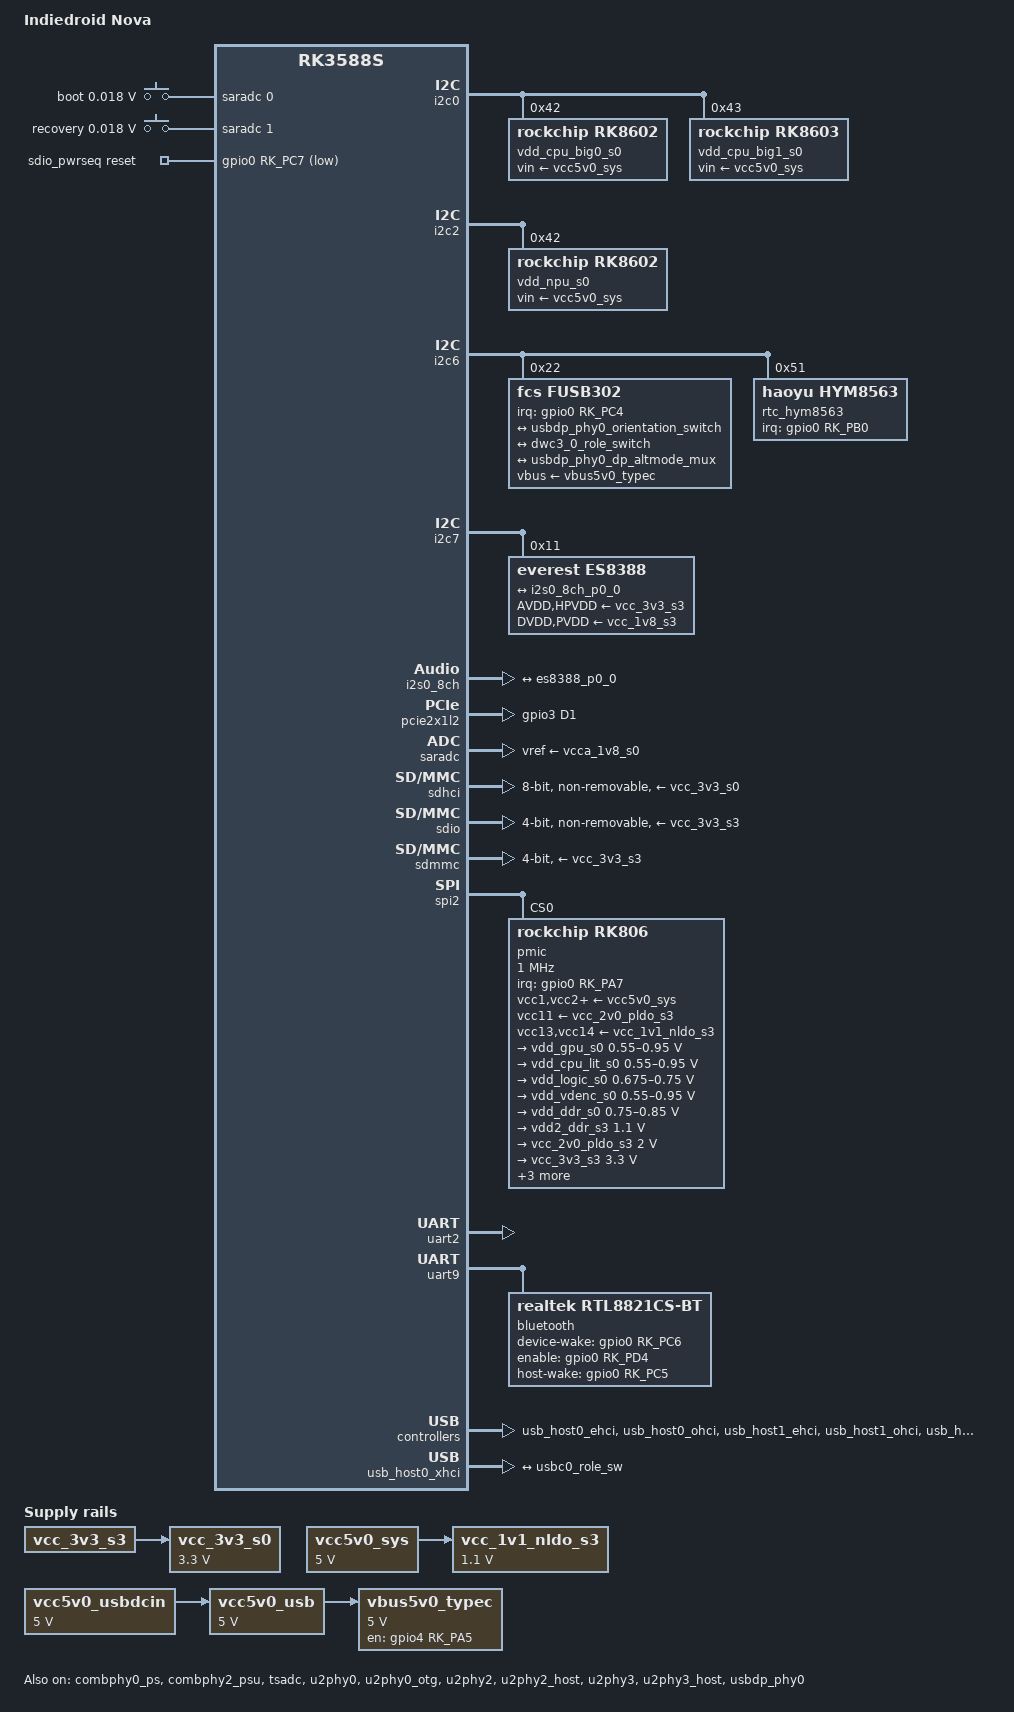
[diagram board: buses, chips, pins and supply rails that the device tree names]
// SPDX-License-Identifier: (GPL-2.0+ OR MIT)

/dts-v1/;

#include <dt-bindings/gpio/gpio.h>
#include <dt-bindings/input/linux-event-codes.h>
#include <dt-bindings/pinctrl/rockchip.h>
#include <dt-bindings/usb/pd.h>
#include "rk3588s.dtsi"

/ {
	model = "Indiedroid Nova";
	compatible = "indiedroid,nova", "rockchip,rk3588s";

	adc-keys-0 {
		compatible = "adc-keys";
		io-channel-names = "buttons";
		io-channels = <&saradc 0>;
		keyup-threshold-microvolt = <1800000>;
		poll-interval = <100>;

		button-boot {
			label = "boot";
			linux,code = <KEY_PROG1>;
			press-threshold-microvolt = <18000>;
		};
	};

	adc-keys-1 {
		compatible = "adc-keys";
		io-channel-names = "buttons";
		io-channels = <&saradc 1>;
		keyup-threshold-microvolt = <1800000>;
		poll-interval = <100>;

		button-recovery {
			label = "recovery";
			linux,code = <KEY_PROG2>;
			press-threshold-microvolt = <18000>;
		};
	};

	aliases {
		mmc0 = &sdhci;
		mmc1 = &sdmmc;
		mmc2 = &sdio;
	};

	chosen {
		stdout-path = "serial2:1500000n8";
	};

	sdio_pwrseq: sdio-pwrseq {
		compatible = "mmc-pwrseq-simple";
		clock-names = "ext_clock";
		clocks = <&rtc_hym8563>;
		pinctrl-0 = <&wifi_enable_h>;
		pinctrl-names = "default";
		post-power-on-delay-ms = <200>;
		reset-gpios = <&gpio0 RK_PC7 GPIO_ACTIVE_LOW>;
	};

	sound {
		compatible = "audio-graph-card";
		label = "rockchip,es8388";
		widgets = "Microphone", "Mic Jack",
			  "Headphone", "Headphones";
		routing = "LINPUT2", "Mic Jack",
			  "Headphones", "LOUT1",
			  "Headphones", "ROUT1";
		dais = <&i2s0_8ch_p0>;
	};

	vbus5v0_typec: vbus5v0-typec-regulator {
		compatible = "regulator-fixed";
		enable-active-high;
		gpio = <&gpio4 RK_PA5 GPIO_ACTIVE_HIGH>;
		pinctrl-0 = <&typec5v_pwren>;
		pinctrl-names = "default";
		regulator-name = "vbus5v0_typec";
		regulator-min-microvolt = <5000000>;
		regulator-max-microvolt = <5000000>;
		vin-supply = <&vcc5v0_usb>;
	};

	vcc_1v1_nldo_s3: vcc-1v1-nldo-s3-regulator {
		compatible = "regulator-fixed";
		regulator-always-on;
		regulator-boot-on;
		regulator-max-microvolt = <1100000>;
		regulator-min-microvolt = <1100000>;
		regulator-name = "vcc_1v1_nldo_s3";
		vin-supply = <&vcc5v0_sys>;
	};

	/* Regulator is enabled whenever vcc_1v8_s0 is above 1.6v */
	vcc_3v3_s0: vcc-3v3-s0-regulator {
		compatible = "regulator-fixed";
		regulator-always-on;
		regulator-boot-on;
		regulator-max-microvolt = <3300000>;
		regulator-min-microvolt = <3300000>;
		regulator-name = "vcc_3v3_s0";
		vin-supply = <&vcc_3v3_s3>;

		regulator-state-mem {
			regulator-off-in-suspend;
		};
	};

	vcc5v0_sys: vcc5v0-sys-regulator {
		compatible = "regulator-fixed";
		regulator-always-on;
		regulator-boot-on;
		regulator-max-microvolt = <5000000>;
		regulator-min-microvolt = <5000000>;
		regulator-name = "vcc5v0_sys";
	};

	vcc5v0_usb: vcc5v0-usb-regulator {
		compatible = "regulator-fixed";
		regulator-always-on;
		regulator-boot-on;
		regulator-max-microvolt = <5000000>;
		regulator-min-microvolt = <5000000>;
		regulator-name = "vcc5v0_usb";
		vin-supply = <&vcc5v0_usbdcin>;
	};

	vcc5v0_usbdcin: vcc5v0-usbdcin-regulator {
		compatible = "regulator-fixed";
		regulator-always-on;
		regulator-boot-on;
		regulator-max-microvolt = <5000000>;
		regulator-min-microvolt = <5000000>;
		regulator-name = "vcc5v0_usbdcin";
	};
};

&combphy0_ps {
	status = "okay";
};

&combphy2_psu {
	status = "okay";
};

&cpu_l0 {
	cpu-supply = <&vdd_cpu_lit_s0>;
};

&cpu_l1 {
	cpu-supply = <&vdd_cpu_lit_s0>;
};

&cpu_l2 {
	cpu-supply = <&vdd_cpu_lit_s0>;
};

&cpu_l3 {
	cpu-supply = <&vdd_cpu_lit_s0>;
};

&cpu_b0 {
	cpu-supply = <&vdd_cpu_big0_s0>;
};

&cpu_b1 {
	cpu-supply = <&vdd_cpu_big0_s0>;
};

&cpu_b2 {
	cpu-supply = <&vdd_cpu_big1_s0>;
};

&cpu_b3 {
	cpu-supply = <&vdd_cpu_big1_s0>;
};

/*
 * Add labels for each GPIO pin exposed on the 40 pin header. Note that
 * voltage of each GPIO pin could be either 3.3v or 1.8v (as noted by
 * label).
 */
&gpio0 {
	gpio-line-names = /* GPIO0 A0-A7 */
			  "", "", "", "",
			  "", "", "", "",
			  /* GPIO0 B0-B7 */
			  "", "", "", "",
			  "", "", "", "",
			  /* GPIO0 C0-C7 */
			  "", "", "", "",
			  "", "", "", "",
			  /* GPIO0 D0-D7 */
			  "HEADER_12_1v8", "", "", "HEADER_24_1v8",
			  "", "", "", "";
};

&gpio1 {
	gpio-line-names = /* GPIO1 A0-A7 */
			  "HEADER_27_3v3", "", "", "",
			  "HEADER_29_1v8", "", "HEADER_7_1v8", "",
			  /* GPIO1 B0-B7 */
			  "", "HEADER_31_1v8", "HEADER_33_1v8", "",
			  "HEADER_11_1v8", "HEADER_13_1v8", "", "",
			  /* GPIO1 C0-C7 */
			  "", "HEADER_28_3v3", "", "",
			  "", "", "", "",
			  /* GPIO1 D0-D7 */
			  "", "", "", "",
			  "", "", "HEADER_5_3v3", "HEADER_3_3v3";
};

&gpio3 {
	gpio-line-names = /* GPIO3 A0-A7 */
			  "", "", "", "",
			  "", "", "", "",
			  /* GPIO3 B0-B7 */
			  "HEADER_16_1v8", "HEADER_18_1v8", "", "",
			  "", "", "", "HEADER_19_1v8",
			  /* GPIO3 C0-C7 */
			  "HEADER_21_1v8", "HEADER_23_1v8", "", "HEADER_26_1v8",
			  "HEADER_15_1v8", "HEADER_22_1v8", "", "",
			  /* GPIO3 D0-D7 */
			  "", "", "", "",
			  "", "", "", "";
};

&gpio4 {
	gpio-line-names = /* GPIO4 A0-A7 */
			  "", "", "HEADER_37_3v3", "HEADER_8_3v3",
			  "HEADER_10_3v3", "", "HEADER_32_3v3", "HEADER_35_3v3",
			  /* GPIO4 B0-B7 */
			  "", "", "", "HEADER_40_3v3",
			  "HEADER_38_3v3", "HEADER_36_3v3", "", "",
			  /* GPIO4 C0-C7 */
			  "", "", "", "",
			  "", "", "", "",
			  /* GPIO4 D0-D7 */
			  "", "", "", "",
			  "", "", "", "";
};

&i2c0 {
	pinctrl-0 = <&i2c0m2_xfer>;
	pinctrl-names = "default";
	status = "okay";

	vdd_cpu_big0_s0: regulator@42 {
		compatible = "rockchip,rk8602";
		reg = <0x42>;
		regulator-always-on;
		regulator-boot-on;
		regulator-max-microvolt = <1050000>;
		regulator-min-microvolt = <550000>;
		regulator-name = "vdd_cpu_big0_s0";
		regulator-ramp-delay = <2300>;
		fcs,suspend-voltage-selector = <1>;
		vin-supply = <&vcc5v0_sys>;

		regulator-state-mem {
			regulator-off-in-suspend;
		};
	};

	vdd_cpu_big1_s0: regulator@43 {
		compatible = "rockchip,rk8603", "rockchip,rk8602";
		reg = <0x43>;
		regulator-always-on;
		regulator-boot-on;
		regulator-max-microvolt = <1050000>;
		regulator-min-microvolt = <550000>;
		regulator-name = "vdd_cpu_big1_s0";
		regulator-ramp-delay = <2300>;
		fcs,suspend-voltage-selector = <1>;
		vin-supply = <&vcc5v0_sys>;

		regulator-state-mem {
			regulator-off-in-suspend;
		};
	};
};

&i2c2 {
	status = "okay";

	vdd_npu_s0: regulator@42 {
		compatible = "rockchip,rk8602";
		reg = <0x42>;
		regulator-always-on;
		regulator-boot-on;
		regulator-max-microvolt = <950000>;
		regulator-min-microvolt = <550000>;
		regulator-name = "vdd_npu_s0";
		regulator-ramp-delay = <2300>;
		fcs,suspend-voltage-selector = <1>;
		vin-supply = <&vcc5v0_sys>;

		regulator-state-mem {
			regulator-off-in-suspend;
		};
	};
};

&i2c6 {
	pinctrl-0 = <&i2c6m3_xfer>;
	status = "okay";

	fusb302: typec-portc@22 {
		compatible = "fcs,fusb302";
		reg = <0x22>;
		interrupt-parent = <&gpio0>;
		interrupts = <RK_PC4 IRQ_TYPE_LEVEL_LOW>;
		pinctrl-0 = <&usbc0_int>;
		pinctrl-names = "default";
		vbus-supply = <&vbus5v0_typec>;

		usb_con: connector {
			compatible = "usb-c-connector";
			data-role = "dual";
			label = "USB-C";
			power-role = "dual";
			try-power-role = "sink";
			source-pdos = <PDO_FIXED(5000, 3000, PDO_FIXED_USB_COMM)>;
			sink-pdos = <PDO_FIXED(5000, 1000, PDO_FIXED_USB_COMM)>;
			op-sink-microwatt = <1000000>;

			ports {
				#address-cells = <1>;
				#size-cells = <0>;

				port@0 {
					reg = <0>;
					usbc0_orien_sw: endpoint {
						remote-endpoint = <&usbdp_phy0_orientation_switch>;
					};
				};

				port@1 {
					reg = <1>;
					usbc0_role_sw: endpoint {
						remote-endpoint = <&dwc3_0_role_switch>;
					};
				};

				port@2 {
					reg = <2>;
					dp_altmode_mux: endpoint {
						remote-endpoint = <&usbdp_phy0_dp_altmode_mux>;
					};
				};
			};
		};
	};

	rtc_hym8563: rtc@51 {
		compatible = "haoyu,hym8563";
		reg = <0x51>;
		#clock-cells = <0>;
		clock-output-names = "hym8563";
		interrupt-parent = <&gpio0>;
		interrupts = <RK_PB0 IRQ_TYPE_LEVEL_LOW>;
		pinctrl-0 = <&hym8563_int>;
		pinctrl-names = "default";
		wakeup-source;
	};
};

&i2c7 {
	pinctrl-0 = <&i2c7m0_xfer>;
	status = "okay";

	es8388: audio-codec@11 {
		compatible = "everest,es8388";
		reg = <0x11>;
		assigned-clock-rates = <12288000>;
		assigned-clocks = <&cru I2S0_8CH_MCLKOUT>;
		AVDD-supply = <&vcc_3v3_s3>;
		clocks = <&cru I2S0_8CH_MCLKOUT>;
		DVDD-supply = <&vcc_1v8_s3>;
		HPVDD-supply = <&vcc_3v3_s3>;
		PVDD-supply = <&vcc_1v8_s3>;
		#sound-dai-cells = <0>;

		port {
			es8388_p0_0: endpoint {
				remote-endpoint = <&i2s0_8ch_p0_0>;
			};
		};
	};
};

&i2s0_8ch {
	pinctrl-names = "default";
	pinctrl-0 = <&i2s0_lrck
		     &i2s0_mclk
		     &i2s0_sclk
		     &i2s0_sdi0
		     &i2s0_sdo0>;
	status = "okay";

	i2s0_8ch_p0: port {
		i2s0_8ch_p0_0: endpoint {
			dai-format = "i2s";
			mclk-fs = <256>;
			remote-endpoint = <&es8388_p0_0>;
		};
	};
};

&pcie2x1l2 {
	pinctrl-0 = <&rtl8111_perstb>;
	pinctrl-names = "default";
	status = "okay";
};

&pinctrl {
	bluetooth-pins {
		bt_reset: bt-reset {
			rockchip,pins =
				<0 RK_PD4 RK_FUNC_GPIO &pcfg_pull_none>;
		};

		bt_wake_dev: bt-wake-dev {
			rockchip,pins =
				<0 RK_PC6 RK_FUNC_GPIO &pcfg_pull_none>;
		};

		bt_wake_host: bt-wake-host {
			rockchip,pins =
				<0 RK_PC5 RK_FUNC_GPIO &pcfg_pull_down>;
		};
	};

	ethernet-pins {
		rtl8111_perstb: rtl8111-perstb {
			rockchip,pins = <3 RK_PD1 RK_FUNC_GPIO &pcfg_pull_up>;
		};
	};

	hym8563 {

		hym8563_int: hym8563-int {
			rockchip,pins =
				<0 RK_PB0 RK_FUNC_GPIO &pcfg_pull_none>;
		};
	};

	sdio-pwrseq {
		wifi_enable_h: wifi-enable-h {
			rockchip,pins =
				<0 RK_PC7 RK_FUNC_GPIO &pcfg_pull_none>;
		};
	};

	usb-typec {
		usbc0_int: usbc0-int {
			rockchip,pins =
				<0 RK_PC4 RK_FUNC_GPIO &pcfg_pull_up>;
		};

		typec5v_pwren: typec5v-pwren {
			rockchip,pins =
				<4 RK_PA5 RK_FUNC_GPIO &pcfg_pull_none>;
		};
	};
};

&saradc {
	vref-supply = <&vcca_1v8_s0>;
	status = "okay";
};

/* HS400 modes seemed to cause io errors. */
&sdhci {
	bus-width = <8>;
	no-mmc-hs400;
	no-sd;
	no-sdio;
	non-removable;
	vmmc-supply = <&vcc_3v3_s0>;
	vqmmc-supply = <&vcc_1v8_s3>;
	status = "okay";
};

&sdio {
	bus-width = <4>;
	cap-sd-highspeed;
	cap-sdio-irq;
	disable-wp;
	keep-power-in-suspend;
	max-frequency = <100000000>;
	mmc-pwrseq = <&sdio_pwrseq>;
	no-mmc;
	no-sd;
	non-removable;
	sd-uhs-sdr104;
	vmmc-supply = <&vcc_3v3_s3>;
	vqmmc-supply = <&vcc_1v8_s3>;
	status = "okay";
};

&sdmmc {
	bus-width = <4>;
	cap-mmc-highspeed;
	cap-sd-highspeed;
	disable-wp;
	no-sdio;
	no-mmc;
	sd-uhs-sdr104;
	vmmc-supply = <&vcc_3v3_s3>;
	vqmmc-supply = <&vccio_sd_s0>;
	status = "okay";
};

&spi2 {
	#address-cells = <1>;
	assigned-clocks = <&cru CLK_SPI2>;
	assigned-clock-rates = <200000000>;
	num-cs = <1>;
	pinctrl-0 = <&spi2m2_pins>, <&spi2m2_cs0>;
	pinctrl-names = "default";
	#size-cells = <0>;
	status = "okay";

	pmic@0 {
		compatible = "rockchip,rk806";
		reg = <0x0>;
		#gpio-cells = <2>;
		gpio-controller;
		interrupt-parent = <&gpio0>;
		interrupts = <RK_PA7 IRQ_TYPE_LEVEL_LOW>;
		pinctrl-0 = <&pmic_pins>, <&rk806_dvs1_null>,
			    <&rk806_dvs2_null>, <&rk806_dvs3_null>;
		pinctrl-names = "default";
		spi-max-frequency = <1000000>;

		vcc1-supply = <&vcc5v0_sys>;
		vcc2-supply = <&vcc5v0_sys>;
		vcc3-supply = <&vcc5v0_sys>;
		vcc4-supply = <&vcc5v0_sys>;
		vcc5-supply = <&vcc5v0_sys>;
		vcc6-supply = <&vcc5v0_sys>;
		vcc7-supply = <&vcc5v0_sys>;
		vcc8-supply = <&vcc5v0_sys>;
		vcc9-supply = <&vcc5v0_sys>;
		vcc10-supply = <&vcc5v0_sys>;
		vcc11-supply = <&vcc_2v0_pldo_s3>;
		vcc12-supply = <&vcc5v0_sys>;
		vcc13-supply = <&vcc_1v1_nldo_s3>;
		vcc14-supply = <&vcc_1v1_nldo_s3>;
		vcca-supply = <&vcc5v0_sys>;

		rk806_dvs1_null: dvs1-null-pins {
			pins = "gpio_pwrctrl1";
			function = "pin_fun0";
		};

		rk806_dvs2_null: dvs2-null-pins {
			pins = "gpio_pwrctrl2";
			function = "pin_fun0";
		};

		rk806_dvs3_null: dvs3-null-pins {
			pins = "gpio_pwrctrl3";
			function = "pin_fun0";
		};

		regulators {
			vdd_gpu_s0: dcdc-reg1 {
				regulator-boot-on;
				regulator-enable-ramp-delay = <400>;
				regulator-max-microvolt = <950000>;
				regulator-min-microvolt = <550000>;
				regulator-name = "vdd_gpu_s0";
				regulator-ramp-delay = <12500>;
				regulator-state-mem {
					regulator-off-in-suspend;
				};
			};

			vdd_cpu_lit_s0: dcdc-reg2 {
				regulator-always-on;
				regulator-boot-on;
				regulator-max-microvolt = <950000>;
				regulator-min-microvolt = <550000>;
				regulator-ramp-delay = <12500>;
				regulator-name = "vdd_cpu_lit_s0";
				regulator-state-mem {
					regulator-off-in-suspend;
				};
			};

			vdd_logic_s0: dcdc-reg3 {
				regulator-always-on;
				regulator-boot-on;
				regulator-max-microvolt = <750000>;
				regulator-min-microvolt = <675000>;
				regulator-name = "vdd_logic_s0";
				regulator-ramp-delay = <12500>;
				regulator-state-mem {
					regulator-on-in-suspend;
					regulator-suspend-microvolt = <750000>;
				};
			};

			vdd_vdenc_s0: dcdc-reg4 {
				regulator-always-on;
				regulator-boot-on;
				regulator-max-microvolt = <950000>;
				regulator-min-microvolt = <550000>;
				regulator-name = "vdd_vdenc_s0";
				regulator-ramp-delay = <12500>;
				regulator-state-mem {
					regulator-off-in-suspend;
				};
			};

			vdd_ddr_s0: dcdc-reg5 {
				regulator-always-on;
				regulator-boot-on;
				regulator-min-microvolt = <750000>;
				regulator-max-microvolt = <850000>;
				regulator-ramp-delay = <12500>;
				regulator-name = "vdd_ddr_s0";
				regulator-state-mem {
					regulator-off-in-suspend;
					regulator-suspend-microvolt = <850000>;
				};
			};

			vdd2_ddr_s3: dcdc-reg6 {
				regulator-always-on;
				regulator-boot-on;
				regulator-max-microvolt = <1100000>;
				regulator-min-microvolt = <1100000>;
				regulator-name = "vdd2_ddr_s3";
				regulator-state-mem {
					regulator-on-in-suspend;
				};
			};

			vcc_2v0_pldo_s3: dcdc-reg7 {
				regulator-always-on;
				regulator-boot-on;
				regulator-max-microvolt = <2000000>;
				regulator-min-microvolt = <2000000>;
				regulator-name = "vdd_2v0_pldo_s3";
				regulator-state-mem {
					regulator-on-in-suspend;
					regulator-suspend-microvolt = <2000000>;
				};
			};

			vcc_3v3_s3: dcdc-reg8 {
				regulator-always-on;
				regulator-boot-on;
				regulator-max-microvolt = <3300000>;
				regulator-min-microvolt = <3300000>;
				regulator-name = "vcc_3v3_s3";
				regulator-state-mem {
					regulator-on-in-suspend;
					regulator-suspend-microvolt = <3300000>;
				};
			};

			vddq_ddr_s0: dcdc-reg9 {
				regulator-always-on;
				regulator-boot-on;
				regulator-max-microvolt = <600000>;
				regulator-min-microvolt = <600000>;
				regulator-name = "vddq_ddr_s0";
				regulator-state-mem {
					regulator-off-in-suspend;
				};
			};

			vcc_1v8_s3: dcdc-reg10 {
				regulator-always-on;
				regulator-boot-on;
				regulator-max-microvolt = <1800000>;
				regulator-min-microvolt = <1800000>;
				regulator-name = "vcc_1v8_s3";
				regulator-state-mem {
					regulator-on-in-suspend;
					regulator-suspend-microvolt = <1800000>;
				};
			};

			vcc_1v8_s0: pldo-reg1 {
				regulator-always-on;
				regulator-boot-on;
				regulator-max-microvolt = <1800000>;
				regulator-min-microvolt = <1800000>;
				regulator-name = "vcc_1v8_s0";
				regulator-state-mem {
					regulator-off-in-suspend;
				};
			};

			vcca_1v8_s0: pldo-reg2 {
				regulator-always-on;
				regulator-boot-on;
				regulator-max-microvolt = <1800000>;
				regulator-min-microvolt = <1800000>;
				regulator-name = "vcca_1v8_s0";
				regulator-state-mem {
					regulator-off-in-suspend;
					regulator-suspend-microvolt = <1800000>;
				};
			};

			vdda_1v2_s0: pldo-reg3 {
				regulator-always-on;
				regulator-boot-on;
				regulator-max-microvolt = <1200000>;
				regulator-min-microvolt = <1200000>;
				regulator-name = "vdda_1v2_s0";
				regulator-state-mem {
					regulator-off-in-suspend;
				};
			};

			vcca_3v3_s0: pldo-reg4 {
				regulator-always-on;
				regulator-boot-on;
				regulator-max-microvolt = <3300000>;
				regulator-min-microvolt = <3300000>;
				regulator-name = "vcca_3v3_s0";
				regulator-state-mem {
					regulator-off-in-suspend;
				};
			};

			vccio_sd_s0: pldo-reg5 {
				regulator-always-on;
				regulator-boot-on;
				regulator-max-microvolt = <3300000>;
				regulator-min-microvolt = <1800000>;
				regulator-name = "vccio_sd_s0";
				regulator-state-mem {
					regulator-off-in-suspend;
				};
			};

			vcc_1v8_s3_pldo6: pldo-reg6 {
				regulator-always-on;
				regulator-boot-on;
				regulator-max-microvolt = <1800000>;
				regulator-min-microvolt = <1800000>;
				regulator-name = "vcc_1v8_s3_pldo6";
				regulator-state-mem {
					regulator-on-in-suspend;
					regulator-suspend-microvolt = <1800000>;
				};
			};

			vdd_0v75_s3: nldo-reg1 {
				regulator-always-on;
				regulator-boot-on;
				regulator-max-microvolt = <750000>;
				regulator-min-microvolt = <750000>;
				regulator-name = "vdd_0v75_s3";
				regulator-state-mem {
					regulator-on-in-suspend;
					regulator-suspend-microvolt = <750000>;
				};
			};

			vdda_ddr_pll_s0: nldo-reg2 {
				regulator-always-on;
				regulator-boot-on;
				regulator-max-microvolt = <850000>;
				regulator-min-microvolt = <850000>;
				regulator-name = "vdda_ddr_pll_s0";
				regulator-state-mem {
					regulator-off-in-suspend;
					regulator-suspend-microvolt = <850000>;
				};
			};

			avdd_0v75_s0: nldo-reg3 {
				regulator-always-on;
				regulator-boot-on;
				regulator-max-microvolt = <750000>;
				regulator-min-microvolt = <750000>;
				regulator-name = "avdd_0v75_s0";
				regulator-state-mem {
					regulator-off-in-suspend;
				};
			};

			vdda_0v85_s0: nldo-reg4 {
				regulator-always-on;
				regulator-boot-on;
				regulator-min-microvolt = <850000>;
				regulator-max-microvolt = <850000>;
				regulator-name = "vdda_0v85_s0";
				regulator-state-mem {
					regulator-off-in-suspend;
				};
			};

			/* Schematics show not in use */
			nldo-reg5 {
			};
		};
	};
};

&tsadc {
	status = "okay";
};

&u2phy0 {
	status = "okay";
};

&u2phy0_otg {
	status = "okay";
};

&u2phy2 {
	status = "okay";
};

&u2phy2_host {
	phy-supply = <&vcc5v0_usb>;
	status = "okay";
};

&u2phy3 {
	status = "okay";
};

&u2phy3_host {
	phy-supply = <&vcc5v0_usb>;
	status = "okay";
};

&uart2 {
	pinctrl-0 = <&uart2m0_xfer>;
	status = "okay";
};

/* DMA seems to interfere with bluetooth device normal operation. */
&uart9 {
	pinctrl-0 = <&uart9m2_xfer>, <&uart9m2_ctsn>, <&uart9m2_rtsn>;
	pinctrl-names = "default";
	/delete-property/ dma-names;
	/delete-property/ dmas;
	uart-has-rtscts;
	status = "okay";

	bluetooth {
		compatible = "realtek,rtl8821cs-bt",
			     "realtek,rtl8723bs-bt";
		device-wake-gpios = <&gpio0 RK_PC6 GPIO_ACTIVE_HIGH>;
		enable-gpios = <&gpio0 RK_PD4 GPIO_ACTIVE_HIGH>;
		host-wake-gpios = <&gpio0 RK_PC5 GPIO_ACTIVE_HIGH>;
		pinctrl-0 = <&bt_reset>, <&bt_wake_dev>, <&bt_wake_host>;
		pinctrl-names = "default";
	};
};

&usb_host0_ehci {
	status = "okay";
};

&usb_host0_ohci {
	status = "okay";
};

&usb_host0_xhci {
	usb-role-switch;
	status = "okay";

	port {
		dwc3_0_role_switch: endpoint {
			remote-endpoint = <&usbc0_role_sw>;
		};
	};
};

&usb_host1_ehci {
	status = "okay";
};

&usb_host1_ohci {
	status = "okay";
};

&usb_host2_xhci {
	status = "okay";
};

&usbdp_phy0 {
	orientation-switch;
	mode-switch;
	sbu1-dc-gpios = <&gpio4 RK_PA0 GPIO_ACTIVE_HIGH>;
	sbu2-dc-gpios = <&gpio4 RK_PA1 GPIO_ACTIVE_HIGH>;
	rockchip,dp-lane-mux = <2 3>;
	status = "okay";

	port {
		#address-cells = <1>;
		#size-cells = <0>;

		usbdp_phy0_orientation_switch: endpoint@0 {
			reg = <0>;
			remote-endpoint = <&usbc0_orien_sw>;
		};

		usbdp_phy0_dp_altmode_mux: endpoint@1 {
			reg = <1>;
			remote-endpoint = <&dp_altmode_mux>;
		};
	};
};
